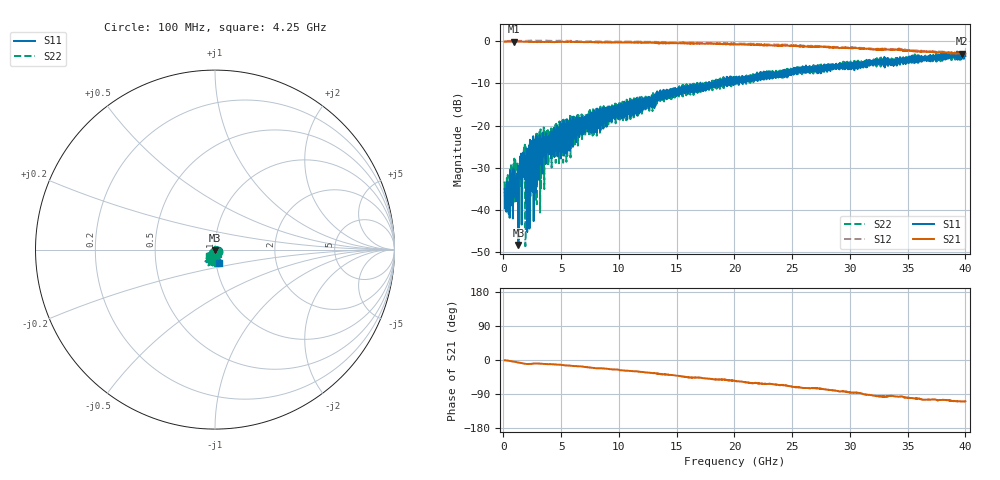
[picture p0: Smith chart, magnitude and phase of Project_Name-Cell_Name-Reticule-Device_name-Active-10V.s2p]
#  HZ  S  RI  R  50.00
! Rohde & Schwarz Vector Network Analyzer
! Rohde-Schwarz,ZNA67-4Port,1332450064101810,2.73
! Created: UTC 3/5/2026, 3:40:58 PM
! freq[Hz]  re:S11  im:S11  re:S21  im:S21  re:S12  im:S12  re:S22  im:S22
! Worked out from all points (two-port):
!   1001 points, 100 MHz to 40 GHz, reference 50 ohm
!   highest |S21| = -0.08 dB at 937.9 MHz (marker M1); lowest = -3.0 dB at 39.72 GHz (marker M2)
!   |S21| within 3 dB of the highest: start of sweep to end of sweep
!   lowest |S11| = -48.3 dB at 1.297 GHz (marker M3), VSWR 1.01, Z = 50.1 - j0.37 ohm
!   |S11| at or under -10 dB: start of sweep to 16.78 GHz; 16.78 GHz to 17.05 GHz (274.7 MHz wide, 1.62 % of centre); 17.26 GHz to 17.53 GHz (273.1 MHz wide, 1.57 % of centre)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
!   |S22| runs from -48.6 to -2.5 dB; largest |S21 - S12| = 0.27
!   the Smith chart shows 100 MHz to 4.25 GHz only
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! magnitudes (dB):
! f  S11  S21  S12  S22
! 100 MHz  -35.0  -0.1  0.0  -33.3
! 339.4 MHz  -38.9  -0.1  0.0  -36.8
! 778.3 MHz  -31.8  -0.1  0.1  -34.0
! 937.9 MHz  -30.7  -0.1  0.0  -27.8
! 1.297 GHz  -48.3  -0.1  0.1  -31.2
! 1.457 GHz  -27.3  -0.1  0.1  -31.5
! 1.656 GHz  -32.3  -0.1  0.1  -30.6
! 1.776 GHz  -29.2  -0.1  0.1  -25.0
! 1.816 GHz  -27.1  -0.1  0.1  -31.4
! 1.856 GHz  -32.8  -0.1  0.1  -24.5
! 2.095 GHz  -25.8  -0.1  0.1  -26.6
! 2.135 GHz  -35.3  -0.1  0.1  -25.7
! 2.295 GHz  -23.4  -0.2  0.1  -24.1
! 2.973 GHz  -28.8  -0.2  0.1  -29.5
! 3.611 GHz  -22.7  -0.1  0.1  -28.1
! 6.763 GHz  -22.0  -0.2  0.0  -17.3
! 13.43 GHz  -13.5  -0.4  -0.2  -12.7
! 20.05 GHz  -9.4  -0.7  -0.5  -8.5
! 26.71 GHz  -7.3  -1.4  -1.2  -6.3
! 33.38 GHz  -5.4  -2.0  -1.9  -5.5
! 39.72 GHz  -3.4  -3.0  -2.9  -2.9
! 40 GHz  -3.5  -2.9  -2.9  -3.1
